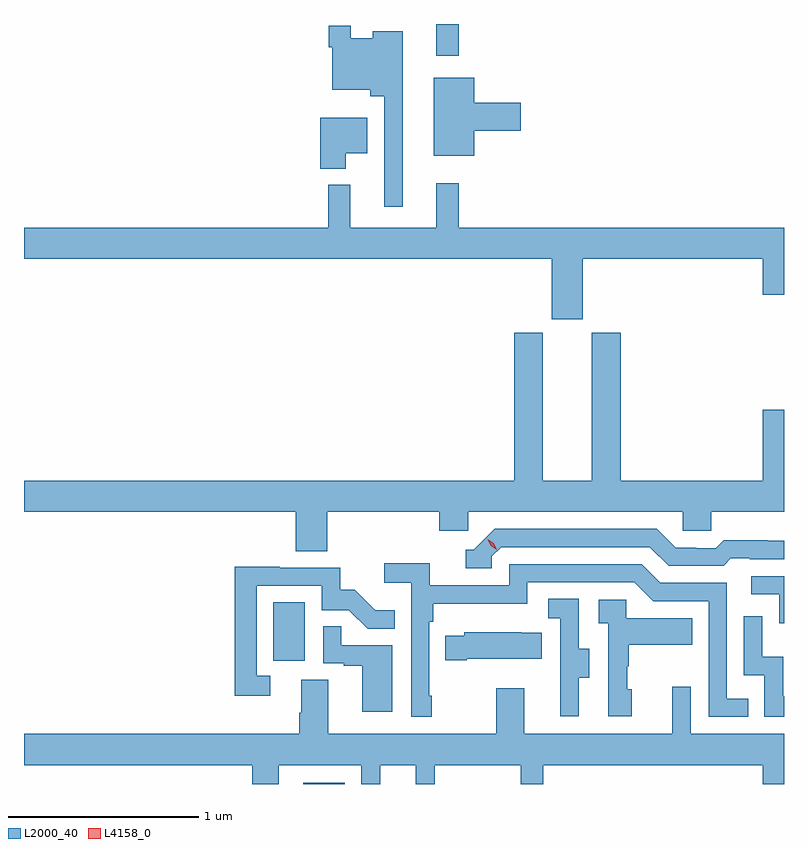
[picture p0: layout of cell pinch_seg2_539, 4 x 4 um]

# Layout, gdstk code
import gdstk
lib = gdstk.Library(unit=1e-6, precision=1e-09)
def R(c, l, rs):  # rectangles x0, y0, x1, y1
    for r in rs: c.add(gdstk.rectangle(r[:2], r[2:], *l))
def P(c, l, *ps):  # polygons
    for p in ps: c.add(gdstk.Polygon(p, *l))
L2000_40 = (2000, 40)
L4158_0 = (4158, 0)

pinch_seg2_539 = lib.new_cell('pinch_seg2_539')
R(pinch_seg2_539, L2000_40, [(1097.655,603.58,1097.872,603.586), (1097.498,604.23,1097.662,604.537), (1098.356,607.413,1098.473,607.58)])
P(pinch_seg2_539, L2000_40, [(1098.178,607.543),(1098.02,607.543),(1098.02,607.504),(1097.904,607.504),(1097.904,607.57),(1097.788,607.57),(1097.788,607.457),(1097.808,607.457),(1097.808,607.235),(1098.008,607.235),(1098.008,607.199),(1098.081,607.199),(1098.081,606.618),(1098.178,606.618)],
  [(1098.556,607.019),(1098.799,607.019),(1098.799,607.166),(1098.556,607.166),(1098.556,607.297),(1098.341,607.297),(1098.341,606.887),(1098.556,606.887)],
  [(1097.878,606.899),(1097.992,606.899),(1097.992,607.087),(1097.744,607.087),(1097.744,606.818),(1097.878,606.818)],
  [(1099.126,606.344),(1100.072,606.344),(1100.072,606.156),(1100.185,606.156),(1100.185,606.508),(1098.473,606.508),(1098.473,606.742),(1098.356,606.742),(1098.356,606.508),(1097.903,606.508),(1097.903,606.733),(1097.785,606.733),(1097.785,606.508),(1096.185,606.508),(1096.185,606.344),(1098.962,606.344),(1098.962,606.027),(1099.126,606.027)],
  [(1097.78,605.012),(1098.371,605.012),(1098.371,604.914),(1098.522,604.914),(1098.522,605.012),(1099.653,605.012),(1099.653,604.914),(1099.803,604.914),(1099.803,605.012),(1100.185,605.012),(1100.185,605.551),(1100.072,605.551),(1100.072,605.176),(1099.325,605.176),(1099.325,605.955),(1099.172,605.955),(1099.172,605.176),(1098.916,605.176),(1098.916,605.955),(1098.764,605.955),(1098.764,605.176),(1096.185,605.176),(1096.185,605.012),(1097.615,605.012),(1097.615,604.804),(1097.78,604.804)],
  [(1098.648,604.779),(1098.696,604.827),(1099.479,604.827),(1099.578,604.728),(1099.867,604.728),(1099.906,604.767),(1100.005,604.767),(1100.005,604.764),(1100.185,604.764),(1100.185,604.861),(1100.1,604.861),(1100.1,604.864),(1099.867,604.864),(1099.825,604.821),(1099.722,604.821),(1099.722,604.824),(1099.615,604.824),(1099.516,604.923),(1098.663,604.923),(1098.552,604.812),(1098.509,604.812),(1098.509,604.716),(1098.648,604.716)],
  [(1098.331,604.045),(1098.318,604.045),(1098.318,604.433),(1098.338,604.433),(1098.338,604.529),(1098.834,604.529),(1098.834,604.641),(1099.398,604.641),(1099.497,604.542),(1099.788,604.542),(1099.788,603.933),(1099.997,603.933),(1099.997,604.029),(1099.884,604.029),(1099.884,604.638),(1099.534,604.638),(1099.435,604.737),(1098.738,604.737),(1098.738,604.626),(1098.32,604.626),(1098.32,604.742),(1098.081,604.742),(1098.081,604.64),(1098.222,604.64),(1098.222,603.933),(1098.331,603.933)],
  [(1097.482,604.149),(1097.409,604.149),(1097.409,604.623),(1097.751,604.623),(1097.751,604.494),(1097.895,604.494),(1097.993,604.396),(1098.137,604.396),(1098.137,604.495),(1098.033,604.495),(1097.926,604.602),(1097.85,604.602),(1097.85,604.719),(1097.531,604.719),(1097.531,604.724),(1097.293,604.724),(1097.293,604.044),(1097.482,604.044)],
  [(1100.185,604.674),(1100.013,604.674),(1100.013,604.578),(1100.16,604.578),(1100.16,604.425),(1100.185,604.425)],
  [(1099.105,604.138),(1099.159,604.138),(1099.159,604.293),(1099.104,604.293),(1099.104,604.556),(1098.945,604.556),(1098.945,604.453),(1099.008,604.453),(1099.008,604.149),(1099.007,604.149),(1099.007,603.936),(1099.105,603.936)],
  [(1099.384,604.08),(1099.359,604.08),(1099.359,604.199),(1099.369,604.199),(1099.369,604.313),(1099.703,604.313),(1099.703,604.453),(1099.356,604.453),(1099.356,604.551),(1099.209,604.551),(1099.209,604.427),(1099.26,604.427),(1099.26,603.936),(1099.384,603.936)],
  [(1100.185,604.042),(1100.18,604.042),(1100.18,604.25),(1100.07,604.25),(1100.07,604.462),(1099.974,604.462),(1099.974,604.152),(1100.082,604.152),(1100.082,603.933),(1100.185,603.933)],
  [(1098.124,604.311),(1097.855,604.311),(1097.855,604.409),(1097.76,604.409),(1097.76,604.215),(1097.867,604.215),(1097.867,604.203),(1097.966,604.203),(1097.966,603.96),(1098.124,603.96)],
  [(1098.514,604.238),(1098.911,604.238),(1098.911,604.375),(1098.803,604.375),(1098.803,604.378),(1098.501,604.378),(1098.501,604.36),(1098.403,604.36),(1098.403,604.231),(1098.514,604.231)],
  [(1097.527,603.68),(1097.961,603.68),(1097.961,603.58),(1098.059,603.58),(1098.059,603.68),(1098.248,603.68),(1098.248,603.58),(1098.347,603.58),(1098.347,603.68),(1098.8,603.68),(1098.8,603.58),(1098.917,603.58),(1098.917,603.68),(1100.072,603.68),(1100.072,603.58),(1100.185,603.58),(1100.185,603.844),(1099.695,603.844),(1099.695,604.093),(1099.598,604.093),(1099.598,603.844),(1098.817,603.844),(1098.817,604.084),(1098.67,604.084),(1098.67,603.844),(1097.785,603.844),(1097.785,604.13),(1097.645,604.13),(1097.645,603.956),(1097.633,603.956),(1097.633,603.844),(1096.185,603.844),(1096.185,603.68),(1097.387,603.68),(1097.387,603.58),(1097.527,603.58)])
P(pinch_seg2_539, L4158_0, [(1098.672,604.813),(1098.642,604.834),(1098.627,604.867),(1098.627,604.867),(1098.627,604.867),(1098.657,604.846),(1098.673,604.813),(1098.673,604.813)])

lib.write_gds('pinch_seg2_539.gds')
